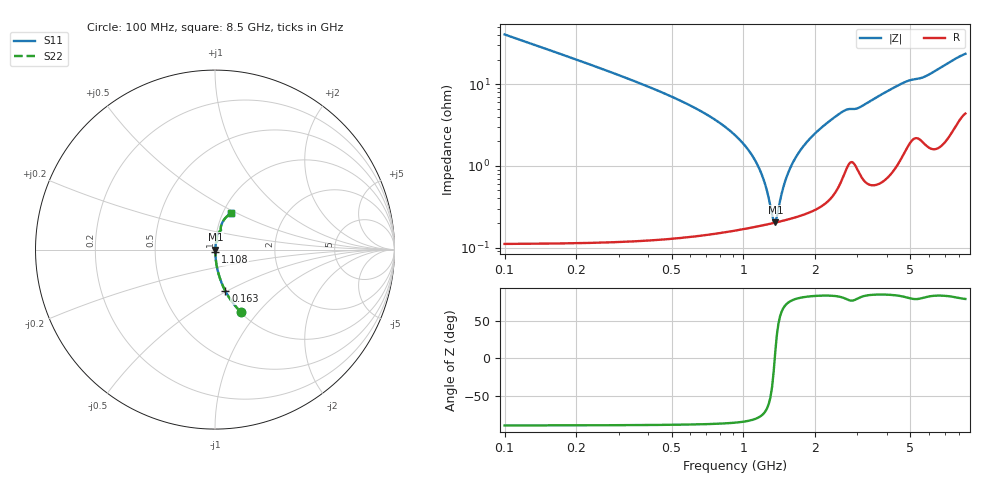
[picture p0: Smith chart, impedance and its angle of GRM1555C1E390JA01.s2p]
!Murata Part Number: GRM1555C1E390JA01
!These Parameters are Measured in Series Mode Connection
!Data Generated on Mar 30, 2021
!  o--ll--o
!Port1  Port2
!  o------o
!Operation Temp=25[degC], DC Bias Voltage=0[V]
!Freq. Start=100[MHz] Stop=9[GHz] 401[Steps]
# Hz S RI R 50
!Freq.(Hz) S11(Real) S11(Imag) S21(Real) S21(Imag) S12(Real) S12(Imag) S22(Real) S22(Imag)
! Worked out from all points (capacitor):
!   401 points, 100 MHz to 8.5 GHz, reference 50 ohm
!   read as one part in series: C = 39 pF near 142 MHz
!   lowest |Z| = 205 mohm at 1.36 GHz (marker M1)
!   series resonance near 1.353 GHz, so ESL is about 350 pH
!   S11 on the Smith chart (normalised r, x): 100 MHz: 1.00, -0.81; 163 MHz: 1.00, -0.49; 1.108 GHz: 1.00, -0.02; 8.5 GHz: 1.09, +0.46
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1e8  0.1421 -0.3478  0.8579 0.3478  0.8579 0.3478  0.1421 -0.3478
1.63e8  0.0583 -0.2321  0.9417 0.2321  0.9417 0.2321  0.0583 -0.2321
2.47e8  0.0259 -0.1554  0.9741 0.1554  0.9741 0.1554  0.0259 -0.1554
3.73e8  0.0113 -0.0998  0.9887 0.0998  0.9887 0.0998  0.0113 -0.0998
8.98e8  0.00223 -0.0253  0.9978 0.0253  0.9978 0.0253  0.00223 -0.0253
1.108e9  0.00192 -0.0121  0.9981 0.0121  0.9981 0.0121  0.00192 -0.0121
1.213e9  0.00192 -0.0066  0.9981 0.0066  0.9981 0.0066  0.00192 -0.0066
1.318e9  0.00198 -0.00157  0.998 0.00157  0.998 0.00157  0.00198 -0.00157
1.36e9  0.00202 0.000325  0.998 -0.000325  0.998 -0.000325  0.00202 0.000325
1.381e9  0.00204 0.00125  0.998 -0.00125  0.998 -0.00125  0.00204 0.00125
1.465e9  0.00215 0.00484  0.9979 -0.00484  0.9979 -0.00484  0.00215 0.00484
1.507e9  0.00221 0.00657  0.9978 -0.00657  0.9978 -0.00657  0.00221 0.00657
1.591e9  0.00236 0.00992  0.9976 -0.00992  0.9976 -0.00992  0.00236 0.00992
1.696e9  0.00259 0.0139  0.9974 -0.0139  0.9974 -0.0139  0.00259 0.0139
1.99e9  0.00347 0.0245  0.9965 -0.0245  0.9965 -0.0245  0.00347 0.0245
2.557e9  0.00816 0.0436  0.9918 -0.0436  0.9918 -0.0436  0.00816 0.0436
2.914e9  0.0127 0.0474  0.9873 -0.0474  0.9873 -0.0474  0.0127 0.0474
4.3e9  0.0171 0.0891  0.9829 -0.0891  0.9829 -0.0891  0.0171 0.0891
4.867e9  0.0277 0.1032  0.9723 -0.1032  0.9723 -0.1032  0.0277 0.1032
5.707e9  0.0321 0.1152  0.9679 -0.1152  0.9679 -0.1152  0.0321 0.1152
7.114e9  0.0489 0.1645  0.9511 -0.1645  0.9511 -0.1645  0.0489 0.1645
8.5e9  0.0867 0.2023  0.9133 -0.2023  0.9133 -0.2023  0.0867 0.2023
